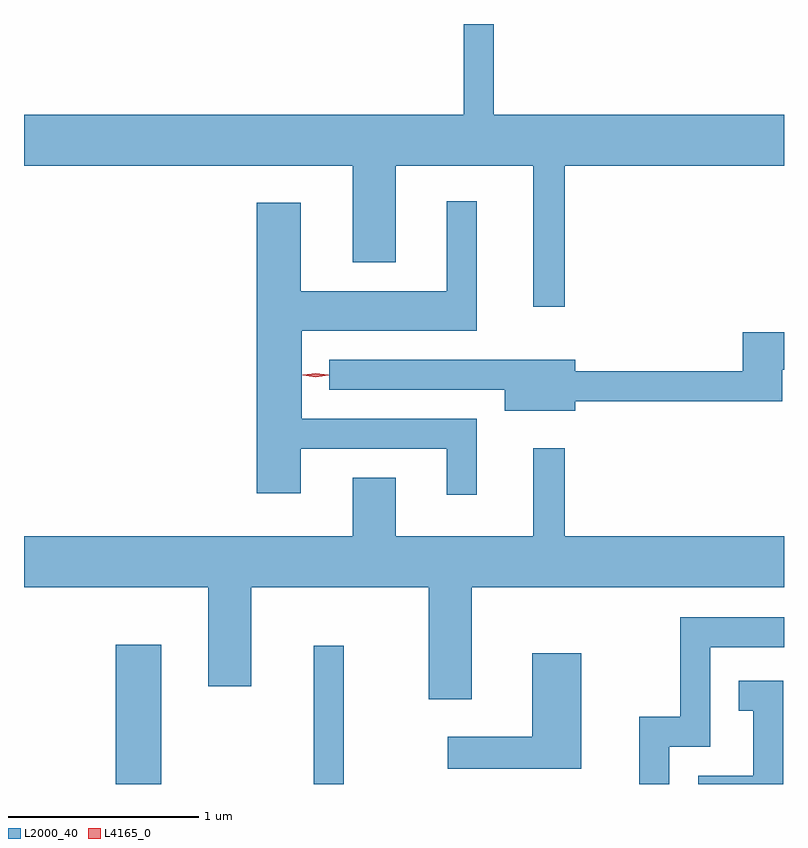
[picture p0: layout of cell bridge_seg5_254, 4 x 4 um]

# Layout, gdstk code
import gdstk
lib = gdstk.Library(unit=1e-6, precision=1e-09)
def R(c, l, rs):  # rectangles x0, y0, x1, y1
    for r in rs: c.add(gdstk.rectangle(r[:2], r[2:], *l))
def P(c, l, *ps):  # polygons
    for p in ps: c.add(gdstk.Polygon(p, *l))
L2000_40 = (2000, 40)
L4165_0 = (4165, 0)

bridge_seg5_254 = lib.new_cell('bridge_seg5_254')
R(bridge_seg5_254, L2000_40, [(917.926,1480.181,918.164,1480.914), (918.966,1480.181,919.124,1480.908)])
P(bridge_seg5_254, L2000_40, [(920.289,1483.436),(921.442,1483.436),(921.442,1483.704),(919.914,1483.704),(919.914,1484.181),(919.756,1484.181),(919.756,1483.704),(917.442,1483.704),(917.442,1483.436),(919.171,1483.436),(919.171,1482.926),(919.399,1482.926),(919.399,1483.436),(920.121,1483.436),(920.121,1482.693),(920.289,1482.693)],
  [(919.824,1482.104),(918.904,1482.104),(918.904,1482.566),(919.824,1482.566),(919.824,1483.248),(919.666,1483.248),(919.666,1482.774),(918.899,1482.774),(918.899,1483.239),(918.666,1483.239),(918.666,1481.711),(918.899,1481.711),(918.899,1481.946),(919.666,1481.946),(919.666,1481.703),(919.824,1481.703)],
  [(920.344,1482.196),(921.434,1482.196),(921.434,1482.361),(921.442,1482.361),(921.442,1482.559),(921.226,1482.559),(921.226,1482.354),(920.344,1482.354),(920.344,1482.414),(919.048,1482.414),(919.048,1482.256),(919.971,1482.256),(919.971,1482.146),(920.344,1482.146)],
  [(919.799,1481.216),(921.442,1481.216),(921.442,1481.484),(920.289,1481.484),(920.289,1481.948),(920.121,1481.948),(920.121,1481.484),(919.399,1481.484),(919.399,1481.794),(919.171,1481.794),(919.171,1481.484),(917.442,1481.484),(917.442,1481.216),(918.411,1481.216),(918.411,1480.696),(918.639,1480.696),(918.639,1481.216),(919.571,1481.216),(919.571,1480.626),(919.799,1480.626)],
  [(920.839,1480.376),(921.054,1480.376),(921.054,1480.901),(921.442,1480.901),(921.442,1481.059),(920.896,1481.059),(920.896,1480.534),(920.681,1480.534),(920.681,1480.181),(920.839,1480.181)],
  [(920.374,1480.869),(920.116,1480.869),(920.116,1480.429),(919.673,1480.429),(919.673,1480.261),(920.374,1480.261)],
  [(921.439,1480.724),(921.203,1480.724),(921.203,1480.566),(921.281,1480.566),(921.281,1480.224),(920.991,1480.224),(920.991,1480.181),(921.439,1480.181)])
P(bridge_seg5_254, L4165_0, [(918.977,1482.322),(918.908,1482.332),(918.907,1482.332),(918.908,1482.333),(918.977,1482.342),(919.046,1482.333),(919.046,1482.332),(919.046,1482.332)],
  [(918.977,1482.324),(918.911,1482.333),(918.91,1482.334),(918.911,1482.334),(918.977,1482.344),(919.042,1482.334),(919.043,1482.334),(919.042,1482.333)])

lib.write_gds('bridge_seg5_254.gds')
